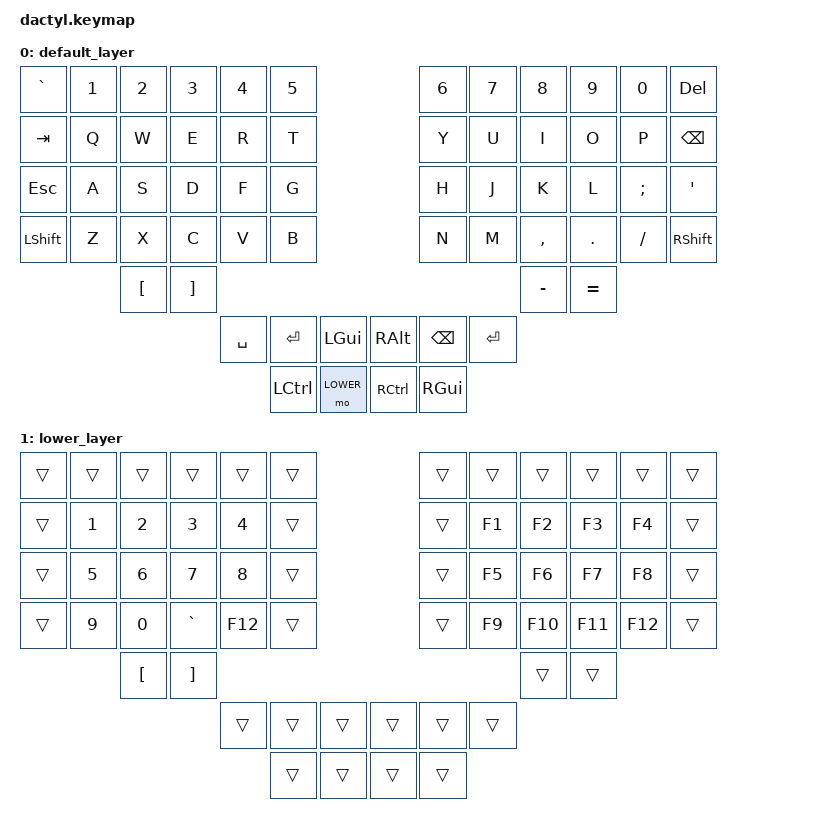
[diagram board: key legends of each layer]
#include <dt-bindings/zmk/outputs.h>
#include <behaviors.dtsi>
#include <dt-bindings/zmk/keys.h>
#include <dt-bindings/zmk/bt.h>

#define DEFAULT 0
#define LOWER 1
#define RAISE 2
#define BOTH 3
#define GAMER 4

/ {
    keymap {
        compatible = "zmk,keymap";

        default_layer {
          bindings = <
    &kp GRAVE  &kp N1 &kp N2    &kp N3  &kp N4    &kp N5                          &kp N6    &kp N7    &kp N8    &kp N9    &kp N0    &kp DEL
    &kp TAB    &kp Q  &kp W     &kp E   &kp R     &kp T                           &kp Y     &kp U     &kp I     &kp O     &kp P     &kp BSPC
    &kp ESC    &kp A  &kp S     &kp D   &kp F     &kp G                           &kp H     &kp J     &kp K     &kp L     &kp SEMI  &kp SQT 
    &kp LSHIFT &kp Z  &kp X     &kp C   &kp V     &kp B                           &kp N     &kp M     &kp COMMA &kp DOT   &kp SLASH &kp RSHIFT
                      &kp LBKT  &kp RBKT                                                              &kp MINUS &kp EQUAL
                                        &kp SPACE &kp ENTER &kp LGUI    &kp RALT  &kp BSPC  &kp ENTER 
                                                  &kp LCTRL &mo LOWER   &kp RCTRL &kp RGUI 
          >;
        };

        lower_layer {
          bindings = <
    &trans  &trans  &trans   &trans     &trans    &trans                        &trans    &trans    &trans    &trans    &trans   &trans   
    &trans  &kp N1  &kp N2   &kp N3     &kp N4    &trans                        &trans    &kp F1    &kp F2    &kp F3    &kp F4   &trans   
    &trans  &kp N5  &kp N6   &kp N7     &kp N8    &trans                        &trans    &kp F5    &kp F6    &kp F7    &kp F8   &trans
    &trans  &kp N9  &kp N0   &kp GRAVE  &kp F12   &trans                        &trans    &kp F9    &kp F10   &kp F11   &kp F12   &trans   
                    &kp LBKT &kp RBKT                                                               &trans    &trans 
                                        &trans    &trans  &trans      &trans    &trans    &trans
                                                  &trans  &trans      &trans    &trans
          >;
        };
    };
};
